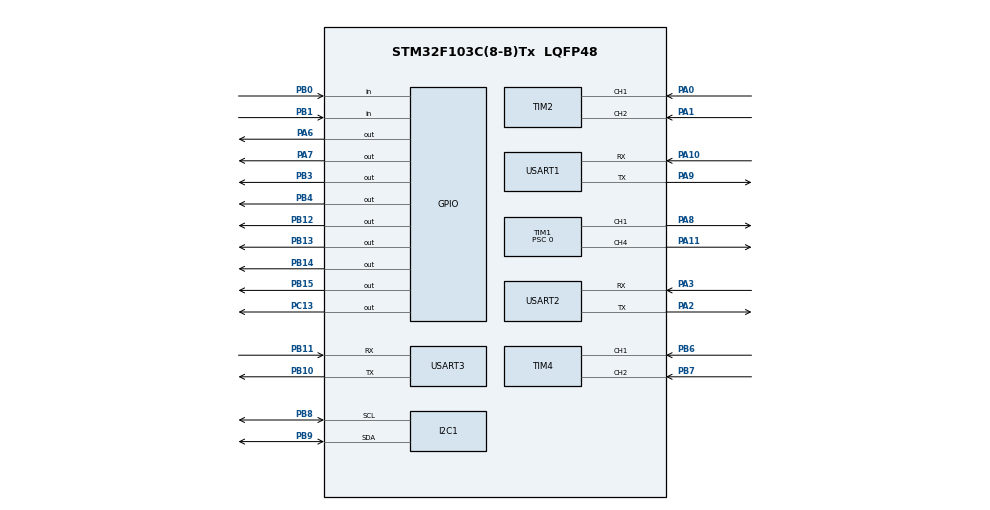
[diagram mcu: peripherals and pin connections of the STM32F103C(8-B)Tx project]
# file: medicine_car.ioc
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Dma.Request0=USART2_RX
Dma.Request1=USART2_TX
Dma.USART2_RX.0.Direction=DMA_PERIPH_TO_MEMORY
Dma.USART2_RX.0.Instance=DMA1_Channel6
Dma.USART2_RX.0.MemDataAlignment=DMA_MDATAALIGN_BYTE
Dma.USART2_RX.0.MemInc=DMA_MINC_ENABLE
Dma.USART2_RX.0.Mode=DMA_NORMAL
Dma.USART2_RX.0.PeriphDataAlignment=DMA_PDATAALIGN_BYTE
Dma.USART2_RX.0.PeriphInc=DMA_PINC_DISABLE
Dma.USART2_RX.0.Priority=DMA_PRIORITY_LOW
Dma.USART2_TX.1.Direction=DMA_MEMORY_TO_PERIPH
Dma.USART2_TX.1.Instance=DMA1_Channel7
Dma.USART2_TX.1.MemDataAlignment=DMA_MDATAALIGN_BYTE
Dma.USART2_TX.1.MemInc=DMA_MINC_ENABLE
Dma.USART2_TX.1.Mode=DMA_NORMAL
Dma.USART2_TX.1.PeriphDataAlignment=DMA_PDATAALIGN_BYTE
Dma.USART2_TX.1.PeriphInc=DMA_PINC_DISABLE
Dma.USART2_TX.1.Priority=DMA_PRIORITY_LOW
FREERTOS.Tasks01=defaultTask,24,128,StartDefaultTask,Default,NULL,Dynamic,NULL,NULL
FREERTOS.configGENERATE_RUN_TIME_STATS=0
FREERTOS.configTIMER_TASK_PRIORITY=55
FREERTOS.configTOTAL_HEAP_SIZE=4608
FREERTOS.configUSE_IDLE_HOOK=1
FREERTOS.configUSE_STATS_FORMATTING_FUNCTIONS=0
FREERTOS.configUSE_TRACE_FACILITY=0
I2C1.I2C_Mode=I2C_Fast
Mcu.Family=STM32F1
Mcu.Name=STM32F103C(8-B)Tx
Mcu.Package=LQFP48
NVIC.DMA1_Channel6_IRQn=true\:5\:0\:false\:false\:true\:true\:false\:true\:true
NVIC.DMA1_Channel7_IRQn=true\:5\:0\:false\:false\:true\:true\:false\:true\:true
NVIC.PriorityGroup=NVIC_PRIORITYGROUP_4
NVIC.TIM3_IRQn=true\:15\:0\:true\:false\:true\:false\:false\:true\:true
NVIC.TimeBase=TIM3_IRQn
NVIC.TimeBaseIP=TIM3
NVIC.USART1_IRQn=true\:5\:0\:false\:false\:true\:true\:true\:true\:true
NVIC.USART2_IRQn=true\:5\:0\:false\:false\:true\:true\:true\:true\:true
NVIC.USART3_IRQn=true\:5\:0\:false\:false\:true\:true\:true\:true\:true
PA0-WKUP.Signal=S_TIM2_CH1_ETR
PA1.Signal=S_TIM2_CH2
PA10.Mode=Asynchronous
PA10.Signal=USART1_RX
PA11.Signal=S_TIM1_CH4
PA13.Mode=Serial_Wire
PA13.Signal=SYS_JTMS-SWDIO
PA14.Mode=Serial_Wire
PA14.Signal=SYS_JTCK-SWCLK
PA2.Mode=Asynchronous
PA2.Signal=USART2_TX
PA3.Mode=Asynchronous
PA3.Signal=USART2_RX
PA6.Signal=GPIO_Output
PA7.Signal=GPIO_Output
PA8.Signal=S_TIM1_CH1
PA9.Mode=Asynchronous
PA9.Signal=USART1_TX
PB0.GPIO_PuPd=GPIO_PULLUP
PB0.Signal=GPIO_Input
PB1.GPIO_PuPd=GPIO_PULLUP
PB1.Signal=GPIO_Input
PB10.Mode=Asynchronous
PB10.Signal=USART3_TX
PB11.Mode=Asynchronous
PB11.Signal=USART3_RX
PB12.Signal=GPIO_Output
PB13.Signal=GPIO_Output
PB14.Signal=GPIO_Output
PB15.Signal=GPIO_Output
PB3.Signal=GPIO_Output
PB4.Signal=GPIO_Output
PB6.Signal=S_TIM4_CH1
PB7.Signal=S_TIM4_CH2
PB8.Mode=I2C
PB8.Signal=I2C1_SCL
PB9.Mode=I2C
PB9.Signal=I2C1_SDA
PC13-TAMPER-RTC.PinState=GPIO_PIN_SET
PC13-TAMPER-RTC.Signal=GPIO_Output
PC14-OSC32_IN.Mode=LSE-External-Clock-Source
PC14-OSC32_IN.Signal=RCC_OSC32_IN
PC15-OSC32_OUT.Mode=LSE-External-Clock-Source
PC15-OSC32_OUT.Signal=RCC_OSC32_OUT
PD0-OSC_IN.Mode=HSE-External-Clock-Source
PD0-OSC_IN.Signal=RCC_OSC_IN
PD1-OSC_OUT.Mode=HSE-External-Clock-Source
PD1-OSC_OUT.Signal=RCC_OSC_OUT
ProjectManager.HeapSize=0x200
ProjectManager.StackSize=0x400
ProjectManager.TargetToolchain=MDK-ARM V5.32
RCC.APB1Freq_Value=8000000
RCC.APB2Freq_Value=8000000
SH.S_TIM1_CH1.0=TIM1_CH1,PWM Generation1 CH1
SH.S_TIM1_CH4.0=TIM1_CH4,PWM Generation4 CH4
SH.S_TIM2_CH1_ETR.0=TIM2_CH1,Encoder_Interface
SH.S_TIM2_CH2.0=TIM2_CH2,Encoder_Interface
SH.S_TIM4_CH1.0=TIM4_CH1,Encoder_Interface
SH.S_TIM4_CH2.0=TIM4_CH2,Encoder_Interface
TIM1.Channel-PWM\ Generation1\ CH1=TIM_CHANNEL_1
TIM1.Channel-PWM\ Generation4\ CH4=TIM_CHANNEL_4
TIM1.Period=7200-1
TIM1.Prescaler=0
TIM2.IC1Filter=1
TIM2.IC2Filter=1
TIM4.IC1Filter=1
TIM4.IC2Filter=1
USART1.VirtualMode=VM_ASYNC
USART2.VirtualMode=VM_ASYNC
USART3.VirtualMode=VM_ASYNC
VP_FREERTOS_VS_CMSIS_V2.Mode=CMSIS_V2
VP_SYS_VS_tim3.Mode=TIM3
board=custom

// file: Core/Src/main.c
/* USER CODE BEGIN Header */
/**
  ******************************************************************************
  * @file           : main.c
  * @brief          : Main program body
  ******************************************************************************
  * @attention
  *
  * Copyright (c) 2023 STMicroelectronics.
  * All rights reserved.
  *
  * This software is licensed under terms that can be found in the LICENSE file
  * in the root directory of this software component.
  * If no LICENSE file comes with this software, it is provided AS-IS.
  *
  ******************************************************************************
  */
/* USER CODE END Header */
#include "main.h"
#include "cmsis_os.h"
#include "dma.h"
#include "i2c.h"
#include "tim.h"
#include "usart.h"
#include "gpio.h"

void SystemClock_Config(void);
void MX_FREERTOS_Init(void);

int main(void)
{

  /* MCU Configuration--------------------------------------------------------*/

  /* Reset of all peripherals, Initializes the Flash interface and the Systick. */
  HAL_Init();

  /* Configure the system clock */
  SystemClock_Config();

  /* Initialize all configured peripherals */
  MX_GPIO_Init();
  MX_DMA_Init();
  MX_I2C1_Init();
  MX_TIM1_Init();
  MX_TIM2_Init();
  MX_TIM4_Init();
  MX_USART1_UART_Init();
  MX_USART2_UART_Init();
  MX_USART3_UART_Init();
  /* USER CODE BEGIN 2 */

	Encoder_Init();
	motor_pwm_init();

  /* USER CODE END 2 */

  /* Init scheduler */
  osKernelInitialize();  /* Call init function for freertos objects (in freertos.c) */
  MX_FREERTOS_Init();

  /* Start scheduler */
  osKernelStart();

  /* We should never get here as control is now taken by the scheduler */
  /* Infinite loop */
  while (1)
  {

  }
}

void SystemClock_Config(void)
{
  RCC_OscInitTypeDef RCC_OscInitStruct = {0};
  RCC_ClkInitTypeDef RCC_ClkInitStruct = {0};

  /** Initializes the RCC Oscillators according to the specified parameters
  * in the RCC_OscInitTypeDef structure.
  */
  RCC_OscInitStruct.OscillatorType = RCC_OSCILLATORTYPE_HSI;
  RCC_OscInitStruct.HSIState = RCC_HSI_ON;
  RCC_OscInitStruct.HSICalibrationValue = RCC_HSICALIBRATION_DEFAULT;
  RCC_OscInitStruct.PLL.PLLState = RCC_PLL_NONE;
  if (HAL_RCC_OscConfig(&RCC_OscInitStruct) != HAL_OK)
  {
    Error_Handler();
  }

  /** Initializes the CPU, AHB and APB buses clocks
  */
  RCC_ClkInitStruct.ClockType = RCC_CLOCKTYPE_HCLK|RCC_CLOCKTYPE_SYSCLK
                              |RCC_CLOCKTYPE_PCLK1|RCC_CLOCKTYPE_PCLK2;
  RCC_ClkInitStruct.SYSCLKSource = RCC_SYSCLKSOURCE_HSI;
  RCC_ClkInitStruct.AHBCLKDivider = RCC_SYSCLK_DIV1;
  RCC_ClkInitStruct.APB1CLKDivider = RCC_HCLK_DIV1;
  RCC_ClkInitStruct.APB2CLKDivider = RCC_HCLK_DIV1;

  if (HAL_RCC_ClockConfig(&RCC_ClkInitStruct, FLASH_LATENCY_0) != HAL_OK)
  {
    Error_Handler();
  }
}

void HAL_TIM_PeriodElapsedCallback(TIM_HandleTypeDef *htim)
{
  if (htim->Instance == TIM3) {
    HAL_IncTick();
  }
}

void Error_Handler(void)
{
  __disable_irq();
  while (1)
  {
  }
}

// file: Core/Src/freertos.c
/* USER CODE BEGIN Header */
/**
  ******************************************************************************
  * File Name          : freertos.c
  * Description        : Code for freertos applications
  ******************************************************************************
  * @attention
  *
  * Copyright (c) 2023 STMicroelectronics.
  * All rights reserved.
  *
  * This software is licensed under terms that can be found in the LICENSE file
  * in the root directory of this software component.
  * If no LICENSE file comes with this software, it is provided AS-IS.
  *
  ******************************************************************************
  */
/* USER CODE END Header */

#include "FreeRTOS.h"
#include "task.h"
#include "main.h"
#include "cmsis_os.h"

/* USER CODE BEGIN Includes */
#include  <math.h>    //Keil library
#include "timers.h"
#include "queue.h"
#include "usart.h"
#include "vl53l0x_api.h"
/* USER CODE END Includes */

/* USER CODE BEGIN Variables */
void pid_control(void *params);

void lcd_test_task(void *params);
void motor_time_isq(void *params);
void logic_control(void *param);

extern TIM_HandleTypeDef htim1;
extern TIM_HandleTypeDef htim2;
extern TIM_HandleTypeDef htim4;
//static  char pcWriteBuffer[200];

TimerHandle_t g_motor_timer;

QueueSetHandle_t g_xQueueSetInput;
QueueHandle_t g_speed_data_quene;
QueueHandle_t g_key_data_quene;
QueueHandle_t g_speed_aim_quene;

QueueHandle_t g_distance_data_quene;
QueueHandle_t g_angle_data_quene;
QueueHandle_t g_uart_data_quene;

TaskHandle_t g_read_hmc_task;
TaskHandle_t g_measure_distance;

/* USER CODE END Variables */
/* Definitions for defaultTask */
osThreadId_t defaultTaskHandle;
const osThreadAttr_t defaultTask_attributes = {
  .name = "defaultTask",
  .stack_size = 128 * 4,
  .priority = (osPriority_t) osPriorityNormal,
};

void StartDefaultTask(void *argument);

void MX_FREERTOS_Init(void); /* (MISRA C 2004 rule 8.1) */

/* Hook prototypes */
void vApplicationIdleHook(void);

/* USER CODE BEGIN 2 */
void vApplicationIdleHook( void )
{
   /* vApplicationIdleHook() will only be called if configUSE_IDLE_HOOK is set
   to 1 in FreeRTOSConfig.h. It will be called on each iteration of the idle
   task. It is essential that code added to this hook function never attempts
   to block in any way (for example, call xQueueReceive() with a block time
   specified, or call vTaskDelay()). If the application makes use of the
   vTaskDelete() API function (as this demo application does) then it is also
   important that vApplicationIdleHook() is permitted to return to its calling
   function, because it is the responsibility of the idle task to clean up
   memory allocated by the kernel to any task that has since been deleted. */
//	int i;
//	vTaskList((char *)pcWriteBuffer);
////	for (i = 0; i < 16; i++)
////		printf("-");
//	printf("\n\r");
//	printf("%s\n\r", pcWriteBuffer);

}
/* USER CODE END 2 */

void MX_FREERTOS_Init(void) {
  /* USER CODE BEGIN Init */
//	OLED_Init();
//	OLED_Clear();
//	Init_HMC5883();

  /* USER CODE END Init */

  /* USER CODE BEGIN RTOS_TIMERS */
  /* start timers, add new ones, ... */
	g_motor_timer = xTimerCreate("motor_timer",10,pdTRUE,NULL,motor_time_isq);

  /* USER CODE END RTOS_TIMERS */

  /* USER CODE BEGIN RTOS_QUEUES */
  /* add queues, ... */
	g_speed_data_quene = xQueueCreate(1,sizeof(Speed_Data_Struct));
	g_key_data_quene = xQueueCreate(1,sizeof(Key_Data));
	g_speed_aim_quene = xQueueCreate(1,sizeof(Speed_AIM_Data_Struct));
	g_distance_data_quene = xQueueCreate(1,sizeof(Distance_Data_Struct));
	g_angle_data_quene = xQueueCreate(1,sizeof(Angle_Data_Struct));
	g_uart_data_quene = xQueueCreate(1,sizeof(void*));

	g_xQueueSetInput = xQueueCreateSet(4);
	xQueueAddToSet(g_distance_data_quene,g_xQueueSetInput);
	xQueueAddToSet(g_angle_data_quene,g_xQueueSetInput);
	xQueueAddToSet(g_uart_data_quene,g_xQueueSetInput);
  /* USER CODE END RTOS_QUEUES */

  /* Create the thread(s) */
  /* creation of defaultTask */
//  defaultTaskHandle = osThreadNew(StartDefaultTask, NULL, &defaultTask_attributes);

  /* USER CODE BEGIN RTOS_THREADS */
  /* add threads, ... */
///// 	xTaskCreate(lcd_test_task, "lcd_test", 256, NULL, osPriorityNormal, NULL);
	xTaskCreate(key_task, "key_task", 128, NULL, osPriorityNormal, NULL);
	xTaskCreate(read_hmc_task, "hmc_task", 256, NULL, osPriorityNormal,&g_read_hmc_task);
//	xTaskCreate(measure_distance, "dis_task", 128, NULL, osPriorityNormal, &g_measure_distance);
	xTaskCreate(logic_control, "logic_control", 256, NULL, osPriorityNormal+1, NULL);
	OLED_Init();
	Menu_Init();
//	HAL_Delay(100);

//	OLED_Clear();
	Menu_Task_Create();
	xTaskCreate(pid_control, "pid_control", 256, NULL, osPriorityNormal+2, NULL);
//	xTaskCreate(fire_pid_task, "fire_pid", 500, NULL, osPriorityNormal, NULL);

	xTimerStart(g_motor_timer,0);
  /* USER CODE END RTOS_THREADS */

}

void StartDefaultTask(void *argument)
{
  /* USER CODE BEGIN StartDefaultTask */
  /* Infinite loop */
	vTaskDelete(NULL);
  for(;;)
  {
    osDelay(1);
  }
  /* USER CODE END StartDefaultTask */
}

/* USER CODE BEGIN Application */
void motor_time_isq(void *params)
{
	BaseType_t xHigherPriorityTaskWoken = pdFALSE;
	Speed_Data_Struct car_speed;
	car_speed.left_angel =   Get_Angle(&htim2);
	car_speed.right_angel =   Get_Angle(&htim4);
	car_speed.left_speed =   -Get_Speed(&htim2);
	car_speed.right_speed =   Get_Speed(&htim4);

	xQueueOverwriteFromISR(g_speed_data_quene,&car_speed,&xHigherPriorityTaskWoken);
//	printf("car_speed: %f,%f\r\n",car_speed.right_speed,car_speed.left_speed);
}
void pid_control(void *params)
{
	Speed_Data_Struct car_speed ={0,0,0,0};
	Speed_AIM_Data_Struct speed_aim_data = {0,0};
	int16_t pid_data_right = 0;
	int16_t pid_data_left = 0;
//	TIM1->CCR1 = 0;
//	TIM1->CCR4 = 0;
//	HAL_GPIO_WritePin(GPIOB, GPIO_PIN_13|GPIO_PIN_15, GPIO_PIN_SET);
//	HAL_GPIO_WritePin(GPIOB, GPIO_PIN_14|GPIO_PIN_12, GPIO_PIN_RESET);
	while(1)
	{
		xQueuePeek(g_speed_aim_quene,&speed_aim_data,0);
		g_motor_right_pid.target_val = speed_aim_data.right_speed_aim;
		g_motor_left_pid.target_val = speed_aim_data.left_speed_aim;
		xQueueReceive(g_speed_data_quene,&car_speed,portMAX_DELAY);
//对pid进行控制
		g_motor_right_pid.actual_val = car_speed.right_speed;
		g_motor_left_pid.actual_val = car_speed.left_speed;

		pid_data_right = PID_Increment(&g_motor_right_pid);
		pid_data_left = PID_Increment(&g_motor_left_pid);
		if (pid_data_right > 8000)
		{
			pid_data_right = 8000;
            motor(0,&htim1,TIM_CHANNEL_4);
		}
        else if (pid_data_right < -8000)
		{
            pid_data_right = -8000;
			motor(0,&htim1,TIM_CHANNEL_4);
		}
		else
		{
			motor(pid_data_right,&htim1,TIM_CHANNEL_4);
		}

		if (pid_data_left > 8000)
		{
			pid_data_left = 8000;
            motor(0,&htim1,TIM_CHANNEL_1);
		}
        else if (pid_data_left < -8000)
		{
            pid_data_left = -8000;
			motor(0,&htim1,TIM_CHANNEL_1);
		}
		else
		{
			motor(pid_data_left,&htim1,TIM_CHANNEL_1);
		}
//		printf("car_speed: %d,%d\r\n",pid_data_left,(int16_t)car_speed.left_speed);
	}
}

extern u8g2_t u8g2;
/*   读取各个传感器   将计算结果发到pid中去*/
void logic_control(void *param)
{
	Speed_AIM_Data_Struct speed_aim_data= {0,0};
	QueueSetMemberHandle_t xQueueHandle;
//	double init_angle = 0;
	double current_angle_error = 0;
	double aim_angle = 0;
	Angle_Data_Struct angle_data;
	static float speed_error = 0;
	static int16_t speed_rate = 0;
	void* usart_point;
	Uart_Car_Data uart_data ;
	while(1)
	{
		/*读取队列集中队列*/
		xQueueHandle = xQueueSelectFromSet(g_xQueueSetInput, portMAX_DELAY);
		if(xQueueHandle)
		{
			if(xQueueHandle == g_angle_data_quene)
			{
				/*接收角度数据并进行处理  结果传入到速度目标值中去*/
				xQueueReceive(g_angle_data_quene,&angle_data,0);
//				if(init_angle == 0)
//				{
//					init_angle = angle_data.car_angle;
//					aim_angle = init_angle;
//				}

				if(aim_angle - angle_data.car_angle <1 &&
					aim_angle - angle_data.car_angle >-1)
				{
					/*到达旋转的目标角度*/
					speed_error = 0;
				}else
				{
					current_angle_error = calculateAngleDifference(angle_data.car_angle
					,aim_angle);
					/*进行角度环pid计算*/
					g_angle_pid.actual_val = current_angle_error;
					speed_error = PID_Increment(&g_angle_pid);
//					speed_error = current_angle_error*0.3;
					if(speed_error>70)
					{
						speed_error = 70;
					}else if(speed_error<-70)
					{
						speed_error = -70;
					}
				}

				printf("5883data:%f,%f\r\n",speed_error,current_angle_error);
			}else
			if(xQueueHandle == g_uart_data_quene)
			{
//				xQueueOverwriteFromISR(g_uart_data_quene, &c_main_buffer_data, &xHigherPriorityTaskWoken);

				xQueueReceive(g_uart_data_quene,&usart_point ,0);

//				for(uint8_t i = 0;i<10;i++)
//				{
//					printf("%d\r\n",((uint8_t *)usart_point)[i]);
//				}
				uart_data.head_frame = ((uint8_t *)usart_point)[0];
				uart_data.logic_data = ((uint8_t *)usart_point)[2]<<8 |((uint8_t *)usart_point)[1];
				uart_data.x_data = ((uint8_t *)usart_point)[4]<<8 |((uint8_t *)usart_point)[3];
				uart_data.y_data = ((uint8_t *)usart_point)[6]<<8 |((uint8_t *)usart_point)[5];
				uart_data.speed_data = ((uint8_t *)usart_point)[8]<<8 |((uint8_t *)usart_point)[7];
				uart_data.sum_data = ((uint8_t *)usart_point)[8];
				uart_data.end_frame = ((uint8_t *)usart_point)[10];
				double angle_cal = 0;
				angle_cal = atan2((double)uart_data.y_data,(double)uart_data.x_data)*(180/3.14159265);
				aim_angle = angle_cal;
				speed_rate = uart_data.speed_data;
//				printf("%f\r\n",angle_cal);
			}

		}

		speed_aim_data.left_speed_aim = speed_rate+speed_error;
		speed_aim_data.right_speed_aim = speed_rate-speed_error;
		xQueueOverwrite(g_speed_aim_quene,&speed_aim_data);
	}
}

void lcd_test_task(void *params)
{
//		TIM1->CCR1 = 1250;
//		TIM1->CCR4 = 1250;
//	HAL_GPIO_WritePin(GPIOB, GPIO_PIN_13|GPIO_PIN_15, GPIO_PIN_SET);
//	HAL_GPIO_WritePin(GPIOB, GPIO_PIN_14|GPIO_PIN_12, GPIO_PIN_RESET);
//	uint8_t BUF[6];

//	double angle_xz;
//	double angle_yz;
//	printf("helloworld\r\n");
//	VL53L0X_Init();
//
//	u8g2Init(&u8g2);
//	testDrawFrame(&u8g2);
//	testDrawPixelToFillScreen(&u8g2);
	while(1)
	{

//		printf("d=%d\r\n",VL53L0X_GetValue());
//	Multiple_Read_HMC5883(BUF);
//	printf("5883data:%f\r\n",HMC5883_anglexy(BUF));
//	printf("counter :%d\r\n",__HAL_TIM_GetCounter(&htim4));
//	__HAL_TIM_SetCounter(&htim4, 0);
//

//		OLED_Clear();
//		testDrawFrame(&u8g2);
//		testDrawRBox(&u8g2);
//		testDrawMulti(&u8g2);
//		osDelay(100);

	}

}
//				if(speed_rate == 0)
//				{
//				//	speed_rate = uart_data.speed_data;
//					speed_rate = 0;
//				}
//				printf("%d\r\n" ,uart_data.speed_data);
//				printf("\r\n%p\r\n",usart_point);
//				printf("%d,%d,%d,%d,%d \r\n",uart_data.head_frame,
//				uart_data.logic_data,
//				uart_data.x_data,
//				uart_data.y_data,
//				uart_data.speed_data
//				);
//				uart_data.logic_data = usart_point[2]<<8|usart_point[1];
//				uart_data.x_data = usart_point[4]<<8|usart_point[3];
//				uart_data.y_data = usart_point[6]<<8|usart_point[5];
//				uart_data.speed_data = usart_point[8]<<8|usart_point[7];
//				printf("usart:%d,%d,%d,%d\r\n",uart_data.logic_data
//				,uart_data.x_data
//				,uart_data.y_data
//				,uart_data.speed_data
//				);
/* USER CODE END Application */
